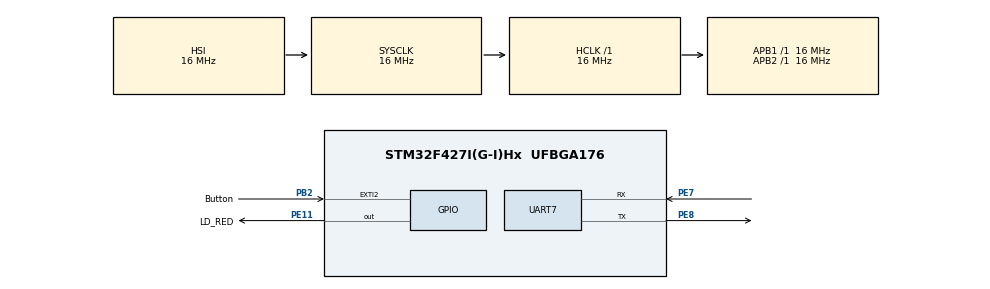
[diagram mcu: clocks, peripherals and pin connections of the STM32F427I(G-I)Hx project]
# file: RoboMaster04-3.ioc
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Dma.Request0=UART7_TX
Dma.UART7_TX.0.Direction=DMA_MEMORY_TO_PERIPH
Dma.UART7_TX.0.FIFOMode=DMA_FIFOMODE_DISABLE
Dma.UART7_TX.0.Instance=DMA1_Stream1
Dma.UART7_TX.0.MemDataAlignment=DMA_MDATAALIGN_BYTE
Dma.UART7_TX.0.MemInc=DMA_MINC_ENABLE
Dma.UART7_TX.0.Mode=DMA_NORMAL
Dma.UART7_TX.0.PeriphDataAlignment=DMA_PDATAALIGN_BYTE
Dma.UART7_TX.0.PeriphInc=DMA_PINC_DISABLE
Dma.UART7_TX.0.Priority=DMA_PRIORITY_LOW
Mcu.Family=STM32F4
Mcu.Name=STM32F427I(G-I)Hx
Mcu.Package=UFBGA176
NVIC.DMA1_Stream1_IRQn=true\:1\:0\:true\:false\:true\:false\:true
NVIC.EXTI2_IRQn=true\:1\:0\:true\:false\:true\:true\:true
NVIC.PriorityGroup=NVIC_PRIORITYGROUP_4
NVIC.UART7_IRQn=true\:1\:0\:true\:false\:true\:true\:true
PB2/BOOT1.GPIO_Label=Button
PB2/BOOT1.Signal=GPXTI2
PE11.GPIO_Label=LD_RED
PE11.Signal=GPIO_Output
PE7.Mode=Asynchronous
PE7.Signal=UART7_RX
PE8.Mode=Asynchronous
PE8.Signal=UART7_TX
ProjectManager.HeapSize=0x200
ProjectManager.StackSize=0x400
ProjectManager.TargetToolchain=SW4STM32
RCC.AHBFreq_Value=16000000
RCC.APB1Freq_Value=16000000
RCC.APB2Freq_Value=16000000
RCC.CortexFreq_Value=16000000
RCC.HSE_VALUE=25000000
RCC.HSI_VALUE=16000000
RCC.LSE_VALUE=32768
RCC.SYSCLKFreq_VALUE=16000000
RCC.VCOOutputFreq_Value=192000000
UART7.VirtualMode=Asynchronous
board=custom

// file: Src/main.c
/* USER CODE BEGIN Header */
/**
  ******************************************************************************
  * @file           : main.c
  * @brief          : Main program body
  ******************************************************************************
  * @attention
  *
  * <h2><center>&copy; Copyright (c) 2020 STMicroelectronics.
  * All rights reserved.</center></h2>
  *
  * This software component is licensed by ST under BSD 3-Clause license,
  * the "License"; You may not use this file except in compliance with the
  * License. You may obtain a copy of the License at:
  *                        opensource.org/licenses/BSD-3-Clause
  *
  ******************************************************************************
  */
/* USER CODE END Header */

#include "main.h"

/* USER CODE BEGIN Includes */
#include "string.h"
/* USER CODE END Includes */

UART_HandleTypeDef huart7;
DMA_HandleTypeDef hdma_uart7_tx;

void SystemClock_Config(void);
static void MX_GPIO_Init(void);
static void MX_DMA_Init(void);
static void MX_UART7_Init(void);

/* USER CODE BEGIN 0 */
char msg[]="\r\n"
           "                                    %@@@@@@@#\r\n"
           "                      .(&@&,        &@@@@@@@%        *@@&(\r\n"
           "                   %@@@@@@@@%%&@@@@@@@@@@@@@@@@@@@&%&@@@@@@@@#\r\n"
           "                    &@@@@@@@@@@@@@@@@@@@@@@@@@@@@@@@@@@@@@@@%\r\n"
           "                    #@@@@@@@@@@@@@@@@@@@@@@@@@@@@@@@@@@@@@@@/\r\n"
           "           ,.    .&@@@@@@@@@@@@@&(.           ,(&@@@@@@@@@@@@@&.    .,\r\n"
           "          &@@@@&@@@@@@@@@@@&,   ###%#%%%%#%%%####   *&@@@@@@@@@@@&@@@@%\r\n"
           "        /@@@@@@@@@@@@@@@&          ,@@@@@@@@&.         .&@@@@@@@@@@@@@@@,\r\n"
           "       (&@@@@@@@@@@@@@#             (@@@@@@@/             %@@@@@@@@@@@@@&*\r\n"
           "           &@@@@@@@@&.        ,%@@@@&@@@@@@@&@@@&%,        ,&@@@@@@@@%\r\n"
           "          /@@@@@@@@%       #@@@@@(  *@@@@@@&,  %@@@@&(       &@@@@@@@@/\r\n"
           "         .&@@@@@@@%      #@@@@@%    *@@@@@@&,    &@@@@@#      &@@@@@@@&.                #  \"There is no truth in flesh,     only betrayal.\"\r\n"
           "    ,%%%%&@@@@@@@@*     &@@@@@%     *@@@@@@&,     %@@@@@%     ,@@@@@@@@&%%%%            #  \"There is no strength in flesh,  only weakness.\"\r\n"
           "    /@@@@@@@@@@@@&.    #@@@@@@,     *@@@@@@&,     ,@@@@@@(    .&@@@@@@@@@@@&,           #  \"There is no constancy in flesh, only decay   .\"\r\n"
           "    /@@@@@@@@@@@@&     %@@@@@@,     *@@@@@@&,     ,@@@@@@#    .&@@@@@@@@@@@&,           #  \"There is no certainty in flesh, but death    .\"\r\n"
           "    *&@@@@@@@@@@@&,    .@@@@@@#     *@@@@@@&,     %@@@@@&     ,@@@@@@@@@@@@&.           #                                 — Credo Omnissiah\r\n"
           "         .&@@@@@@@#     .&@@@@@(    *@@@@@@&,    %@@@@@&      %@@@@@@@&.\r\n"
           "          (@@@@@@@@(      ,&@@@@&.  *@@@@@@&,  *&@@@@%.      #@@@@@@@@(                 Welcome back to Adeptus Mechanicus, Alchemic Ronin!\r\n"
           "           %@@@@@@@@%        .%@@@@&%@@@@@@@%&@@@@#.        %@@@@@@@@%\r\n"
           "       .(&@@@@@@@@@@@@,            *%@@@@@@@%*            (@@@@@@@@@@@@&/\r\n"
           "        %@@@@@@@@@@@@@@@/         .(@@@@@@@@@(.         #@@@@@@@@@@@@@@@#\r\n"
           "         .&@@@@@@@@@@@@@@@@(    ,***************,    #&@@@@@@@@@@@@@@@&.\r\n"
           "           %(    #@@@@@@@@@@@@@%*.             ./&@@@@@@@@@@@@@/   .##\r\n"
           "                   .&@@@@@@@@@@@@@@@@@@@@@@@@@@@@@@@@@@@@@@@%.\r\n"
           "                    #@@@@@@@@@@@@@@@@@@@@@@@@@@@@@@@@@@@@@@@(\r\n"
           "                   &@@@@@@@@@&@@@@@@@@@@@@@@@@@@@@@&@@@@@@@@@%\r\n"
           "                      /&@@@/      .*&@@@@@@@&,.      (@@@&/\r\n"
           "                                    %@@@@@@@#\r\n"
           "                                    .,,,,,,,.\r\n"
           "\r\n";
/* USER CODE END 0 */

int main(void)
{

  /* MCU Configuration--------------------------------------------------------*/

  /* Reset of all peripherals, Initializes the Flash interface and the Systick. */
  HAL_Init();

  /* Configure the system clock */
  SystemClock_Config();

  /* Initialize all configured peripherals */
  MX_GPIO_Init();
  MX_DMA_Init();
  MX_UART7_Init();
  /* USER CODE BEGIN 2 */
  HAL_GPIO_WritePin(LD_RED_GPIO_Port,LD_RED_Pin,GPIO_PIN_SET);
  /* USER CODE END 2 */

  /* Infinite loop */
  while (1)
  {

  }
}

void SystemClock_Config(void)
{
  RCC_OscInitTypeDef RCC_OscInitStruct = {0};
  RCC_ClkInitTypeDef RCC_ClkInitStruct = {0};

  /** Configure the main internal regulator output voltage
  */
  __HAL_RCC_PWR_CLK_ENABLE();
  __HAL_PWR_VOLTAGESCALING_CONFIG(PWR_REGULATOR_VOLTAGE_SCALE3);
  /** Initializes the CPU, AHB and APB busses clocks
  */
  RCC_OscInitStruct.OscillatorType = RCC_OSCILLATORTYPE_HSI;
  RCC_OscInitStruct.HSIState = RCC_HSI_ON;
  RCC_OscInitStruct.HSICalibrationValue = RCC_HSICALIBRATION_DEFAULT;
  RCC_OscInitStruct.PLL.PLLState = RCC_PLL_NONE;
  if (HAL_RCC_OscConfig(&RCC_OscInitStruct) != HAL_OK)
  {
    Error_Handler();
  }
  /** Initializes the CPU, AHB and APB busses clocks
  */
  RCC_ClkInitStruct.ClockType = RCC_CLOCKTYPE_HCLK|RCC_CLOCKTYPE_SYSCLK
                              |RCC_CLOCKTYPE_PCLK1|RCC_CLOCKTYPE_PCLK2;
  RCC_ClkInitStruct.SYSCLKSource = RCC_SYSCLKSOURCE_HSI;
  RCC_ClkInitStruct.AHBCLKDivider = RCC_SYSCLK_DIV1;
  RCC_ClkInitStruct.APB1CLKDivider = RCC_HCLK_DIV1;
  RCC_ClkInitStruct.APB2CLKDivider = RCC_HCLK_DIV1;

  if (HAL_RCC_ClockConfig(&RCC_ClkInitStruct, FLASH_LATENCY_0) != HAL_OK)
  {
    Error_Handler();
  }
}

static void MX_UART7_Init(void)
{

  huart7.Instance = UART7;
  huart7.Init.BaudRate = 115200;
  huart7.Init.WordLength = UART_WORDLENGTH_8B;
  huart7.Init.StopBits = UART_STOPBITS_1;
  huart7.Init.Parity = UART_PARITY_NONE;
  huart7.Init.Mode = UART_MODE_TX_RX;
  huart7.Init.HwFlowCtl = UART_HWCONTROL_NONE;
  huart7.Init.OverSampling = UART_OVERSAMPLING_16;
  if (HAL_UART_Init(&huart7) != HAL_OK)
  {
    Error_Handler();
  }

}

static void MX_DMA_Init(void)
{

  /* DMA controller clock enable */
  __HAL_RCC_DMA1_CLK_ENABLE();

  /* DMA interrupt init */
  /* DMA1_Stream1_IRQn interrupt configuration */
  HAL_NVIC_SetPriority(DMA1_Stream1_IRQn, 1, 0);
  HAL_NVIC_EnableIRQ(DMA1_Stream1_IRQn);

}

static void MX_GPIO_Init(void)
{
  GPIO_InitTypeDef GPIO_InitStruct = {0};

  /* GPIO Ports Clock Enable */
  __HAL_RCC_GPIOB_CLK_ENABLE();
  __HAL_RCC_GPIOE_CLK_ENABLE();

  /*Configure GPIO pin Output Level */
  HAL_GPIO_WritePin(LD_RED_GPIO_Port, LD_RED_Pin, GPIO_PIN_RESET);

  /*Configure GPIO pin : Button_Pin */
  GPIO_InitStruct.Pin = Button_Pin;
  GPIO_InitStruct.Mode = GPIO_MODE_IT_RISING;
  GPIO_InitStruct.Pull = GPIO_NOPULL;
  HAL_GPIO_Init(Button_GPIO_Port, &GPIO_InitStruct);

  /*Configure GPIO pin : LD_RED_Pin */
  GPIO_InitStruct.Pin = LD_RED_Pin;
  GPIO_InitStruct.Mode = GPIO_MODE_OUTPUT_PP;
  GPIO_InitStruct.Pull = GPIO_NOPULL;
  GPIO_InitStruct.Speed = GPIO_SPEED_FREQ_LOW;
  HAL_GPIO_Init(LD_RED_GPIO_Port, &GPIO_InitStruct);

  /* EXTI interrupt init*/
  HAL_NVIC_SetPriority(EXTI2_IRQn, 1, 0);
  HAL_NVIC_EnableIRQ(EXTI2_IRQn);

}

/* USER CODE BEGIN 4 */
void HAL_GPIO_EXTI_Callback(uint16_t GPIO_Pin){
	if(GPIO_Pin == Button_Pin){
		HAL_Delay(500);
		HAL_UART_Transmit_DMA(&huart7,(uint8_t*)msg,strlen(msg));
	}
}

void HAL_UART_TxCpltCallback(UART_HandleTypeDef *huart){
	HAL_GPIO_TogglePin(LD_RED_GPIO_Port,LD_RED_Pin);
	HAL_Delay(200);
	HAL_GPIO_TogglePin(LD_RED_GPIO_Port,LD_RED_Pin);
}
/* USER CODE END 4 */

void Error_Handler(void)
{
}

/************************ (C) COPYRIGHT STMicroelectronics *****END OF FILE****/
